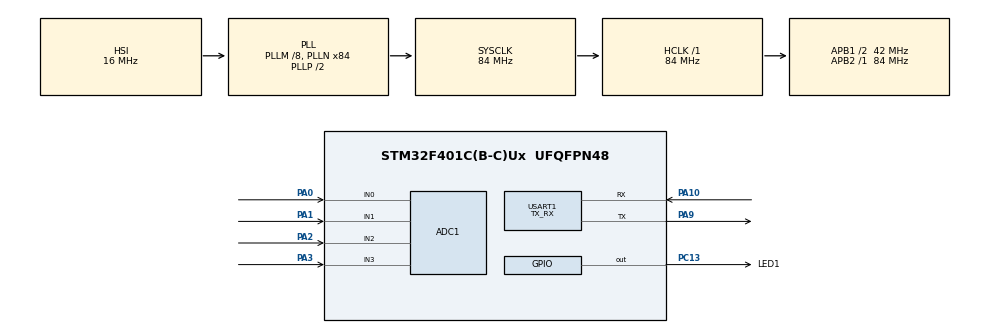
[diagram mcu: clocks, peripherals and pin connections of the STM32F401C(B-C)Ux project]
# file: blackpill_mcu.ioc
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ADC1.Channel-0\#ChannelRegularConversion=ADC_CHANNEL_0
ADC1.Channel-1\#ChannelRegularConversion=ADC_CHANNEL_1
ADC1.Channel-2\#ChannelRegularConversion=ADC_CHANNEL_2
ADC1.Channel-3\#ChannelRegularConversion=ADC_CHANNEL_3
ADC1.ContinuousConvMode=ENABLE
ADC1.NbrOfConversion=4
ADC1.NbrOfConversionFlag=1
ADC1.Rank-0\#ChannelRegularConversion=1
ADC1.Rank-1\#ChannelRegularConversion=2
ADC1.Rank-2\#ChannelRegularConversion=3
ADC1.Rank-3\#ChannelRegularConversion=4
ADC1.SamplingTime-0\#ChannelRegularConversion=ADC_SAMPLETIME_3CYCLES
ADC1.SamplingTime-1\#ChannelRegularConversion=ADC_SAMPLETIME_3CYCLES
ADC1.SamplingTime-2\#ChannelRegularConversion=ADC_SAMPLETIME_3CYCLES
ADC1.SamplingTime-3\#ChannelRegularConversion=ADC_SAMPLETIME_3CYCLES
ADC1.ScanConvMode=ENABLE
ADC1.master=1
Mcu.Family=STM32F4
Mcu.Name=STM32F401C(B-C)Ux
Mcu.Package=UFQFPN48
NVIC.PriorityGroup=NVIC_PRIORITYGROUP_4
PA0-WKUP.Signal=ADCx_IN0
PA1.Signal=ADCx_IN1
PA10.Mode=Asynchronous
PA10.Signal=USART1_RX
PA13.Mode=Trace_Asynchronous_SW
PA13.Signal=SYS_JTMS-SWDIO
PA14.Mode=Trace_Asynchronous_SW
PA14.Signal=SYS_JTCK-SWCLK
PA2.Signal=ADCx_IN2
PA3.Signal=ADCx_IN3
PA9.Mode=Asynchronous
PA9.Signal=USART1_TX
PB3.Mode=Trace_Asynchronous_SW
PB3.Signal=SYS_JTDO-SWO
PC13-ANTI_TAMP.GPIO_Label=LED1
PC13-ANTI_TAMP.Signal=GPIO_Output
ProjectManager.HeapSize=0x200
ProjectManager.StackSize=0x400
ProjectManager.TargetToolchain=STM32CubeIDE
RCC.48MHZClocksFreq_Value=42000000
RCC.AHBFreq_Value=84000000
RCC.APB1CLKDivider=RCC_HCLK_DIV2
RCC.APB1Freq_Value=42000000
RCC.APB1TimFreq_Value=84000000
RCC.APB2Freq_Value=84000000
RCC.APB2TimFreq_Value=84000000
RCC.CortexFreq_Value=84000000
RCC.HCLKFreq_Value=84000000
RCC.HSE_VALUE=25000000
RCC.HSI_VALUE=16000000
RCC.LSE_VALUE=32768
RCC.PLLM=8
RCC.PLLN=84
RCC.SYSCLKFreq_VALUE=84000000
RCC.SYSCLKSource=RCC_SYSCLKSOURCE_PLLCLK
RCC.VCOOutputFreq_Value=168000000
SH.ADCx_IN0.0=ADC1_IN0,IN0
SH.ADCx_IN1.0=ADC1_IN1,IN1
SH.ADCx_IN2.0=ADC1_IN2,IN2
SH.ADCx_IN3.0=ADC1_IN3,IN3
USART1.Mode=MODE_TX_RX
USART1.Parity=PARITY_NONE
USART1.VirtualMode=VM_ASYNC
USART1.WordLength=WORDLENGTH_8B
board=custom

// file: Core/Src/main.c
/* USER CODE BEGIN Header */
/**
  ******************************************************************************
  * @file           : main.c
  * @brief          : Main program body
  ******************************************************************************
  * @attention
  *
  * Copyright (c) 2022 STMicroelectronics.
  * All rights reserved.
  *
  * This software is licensed under terms that can be found in the LICENSE file
  * in the root directory of this software component.
  * If no LICENSE file comes with this software, it is provided AS-IS.
  *
  ******************************************************************************
  */
/* USER CODE END Header */
#include "main.h"

/* USER CODE BEGIN PD */
#define MESSAGE_LEN 1

/* USER CODE END PD */

ADC_HandleTypeDef hadc1;

UART_HandleTypeDef huart1;

/* USER CODE BEGIN PV */
uint8_t rx_buf[MESSAGE_LEN];
uint16_t ADC_VAL[5] = {0, 0, 0, 0, 0x7A7A};
ADC_ChannelConfTypeDef sConfig = {0};
uint32_t ch_list[4] = {ADC_CHANNEL_0, ADC_CHANNEL_1, ADC_CHANNEL_2, ADC_CHANNEL_3};

// set adc port to read
void SET_ADC_Port(uint32_t ch) {
  sConfig.Channel = ch;
  sConfig.Rank = 1;
  sConfig.SamplingTime = ADC_SAMPLETIME_56CYCLES;
  if (HAL_ADC_ConfigChannel(&hadc1, &sConfig) != HAL_OK)
  {
	Error_Handler();
  }
}

// read all adc ports
void READ_ADCS(void) {
	uint32_t temp;
	for(int i = 0; i<4; i++) {
		SET_ADC_Port(ch_list[i]);
		HAL_ADC_Start(&hadc1);
		HAL_ADC_PollForConversion(&hadc1, HAL_MAX_DELAY);
		temp = HAL_ADC_GetValue(&hadc1);
		HAL_ADC_Stop(&hadc1);
		__disable_irq();
		ADC_VAL[i] = 0xFFF&temp;
		__enable_irq();
	}

}

//void HAL_UART_RxCpltCallback(UART_HandleTypeDef *huart) {
//	HAL_UART_Transmit(&huart1, ADC_VAL, 8, HAL_MAX_DELAY);
//	HAL_GPIO_TogglePin(LED1_GPIO_Port, LED1_Pin);
//	HAL_UART_Receive_IT(&huart1, rx_buf, MESSAGE_LEN);
//}

/* USER CODE END PV */

void SystemClock_Config(void);
static void MX_GPIO_Init(void);
static void MX_ADC1_Init(void);
static void MX_USART1_UART_Init(void);

int main(void)
{

  /* MCU Configuration--------------------------------------------------------*/

  /* Reset of all peripherals, Initializes the Flash interface and the Systick. */
  HAL_Init();

  /* Configure the system clock */
  SystemClock_Config();

  /* Initialize all configured peripherals */
  MX_GPIO_Init();
  MX_ADC1_Init();
  MX_USART1_UART_Init();
  /* USER CODE BEGIN 2 */

  //HAL_UART_Receive_IT(&huart1, rx_buf, MESSAGE_LEN);
  //static unsigned short pin_state = 0;

  /* USER CODE END 2 */

  /* Infinite loop */
  while (1)
  {

    /* USER CODE BEGIN 3 */
	READ_ADCS();
	HAL_UART_Transmit(&huart1, ADC_VAL, 10, HAL_MAX_DELAY);
	HAL_GPIO_TogglePin(LED1_GPIO_Port, LED1_Pin);
  }
  /* USER CODE END 3 */
}

void SystemClock_Config(void)
{
  RCC_OscInitTypeDef RCC_OscInitStruct = {0};
  RCC_ClkInitTypeDef RCC_ClkInitStruct = {0};

  /** Configure the main internal regulator output voltage
  */
  __HAL_RCC_PWR_CLK_ENABLE();
  __HAL_PWR_VOLTAGESCALING_CONFIG(PWR_REGULATOR_VOLTAGE_SCALE2);
  /** Initializes the RCC Oscillators according to the specified parameters
  * in the RCC_OscInitTypeDef structure.
  */
  RCC_OscInitStruct.OscillatorType = RCC_OSCILLATORTYPE_HSI;
  RCC_OscInitStruct.HSIState = RCC_HSI_ON;
  RCC_OscInitStruct.HSICalibrationValue = RCC_HSICALIBRATION_DEFAULT;
  RCC_OscInitStruct.PLL.PLLState = RCC_PLL_ON;
  RCC_OscInitStruct.PLL.PLLSource = RCC_PLLSOURCE_HSI;
  RCC_OscInitStruct.PLL.PLLM = 8;
  RCC_OscInitStruct.PLL.PLLN = 84;
  RCC_OscInitStruct.PLL.PLLP = RCC_PLLP_DIV2;
  RCC_OscInitStruct.PLL.PLLQ = 4;
  if (HAL_RCC_OscConfig(&RCC_OscInitStruct) != HAL_OK)
  {
    Error_Handler();
  }
  /** Initializes the CPU, AHB and APB buses clocks
  */
  RCC_ClkInitStruct.ClockType = RCC_CLOCKTYPE_HCLK|RCC_CLOCKTYPE_SYSCLK
                              |RCC_CLOCKTYPE_PCLK1|RCC_CLOCKTYPE_PCLK2;
  RCC_ClkInitStruct.SYSCLKSource = RCC_SYSCLKSOURCE_PLLCLK;
  RCC_ClkInitStruct.AHBCLKDivider = RCC_SYSCLK_DIV1;
  RCC_ClkInitStruct.APB1CLKDivider = RCC_HCLK_DIV2;
  RCC_ClkInitStruct.APB2CLKDivider = RCC_HCLK_DIV1;

  if (HAL_RCC_ClockConfig(&RCC_ClkInitStruct, FLASH_LATENCY_2) != HAL_OK)
  {
    Error_Handler();
  }
}

static void MX_ADC1_Init(void)
{

  ADC_ChannelConfTypeDef sConfig = {0};

  /** Configure the global features of the ADC (Clock, Resolution, Data Alignment and number of conversion)
  */
  hadc1.Instance = ADC1;
  hadc1.Init.ClockPrescaler = ADC_CLOCK_SYNC_PCLK_DIV4;
  hadc1.Init.Resolution = ADC_RESOLUTION_12B;
  hadc1.Init.ScanConvMode = ENABLE;
  hadc1.Init.ContinuousConvMode = ENABLE;
  hadc1.Init.DiscontinuousConvMode = DISABLE;
  hadc1.Init.ExternalTrigConvEdge = ADC_EXTERNALTRIGCONVEDGE_NONE;
  hadc1.Init.ExternalTrigConv = ADC_SOFTWARE_START;
  hadc1.Init.DataAlign = ADC_DATAALIGN_RIGHT;
  hadc1.Init.NbrOfConversion = 4;
  hadc1.Init.DMAContinuousRequests = DISABLE;
  hadc1.Init.EOCSelection = ADC_EOC_SINGLE_CONV;
  if (HAL_ADC_Init(&hadc1) != HAL_OK)
  {
    Error_Handler();
  }
  /** Configure for the selected ADC regular channel its corresponding rank in the sequencer and its sample time.
  */
  sConfig.Channel = ADC_CHANNEL_0;
  sConfig.Rank = 1;
  sConfig.SamplingTime = ADC_SAMPLETIME_3CYCLES;
  if (HAL_ADC_ConfigChannel(&hadc1, &sConfig) != HAL_OK)
  {
    Error_Handler();
  }
  /** Configure for the selected ADC regular channel its corresponding rank in the sequencer and its sample time.
  */
  sConfig.Channel = ADC_CHANNEL_1;
  sConfig.Rank = 2;
  if (HAL_ADC_ConfigChannel(&hadc1, &sConfig) != HAL_OK)
  {
    Error_Handler();
  }
  /** Configure for the selected ADC regular channel its corresponding rank in the sequencer and its sample time.
  */
  sConfig.Channel = ADC_CHANNEL_2;
  sConfig.Rank = 3;
  if (HAL_ADC_ConfigChannel(&hadc1, &sConfig) != HAL_OK)
  {
    Error_Handler();
  }
  /** Configure for the selected ADC regular channel its corresponding rank in the sequencer and its sample time.
  */
  sConfig.Channel = ADC_CHANNEL_3;
  sConfig.Rank = 4;
  if (HAL_ADC_ConfigChannel(&hadc1, &sConfig) != HAL_OK)
  {
    Error_Handler();
  }

}

static void MX_USART1_UART_Init(void)
{

  huart1.Instance = USART1;
  huart1.Init.BaudRate = 115200;
  huart1.Init.WordLength = UART_WORDLENGTH_8B;
  huart1.Init.StopBits = UART_STOPBITS_1;
  huart1.Init.Parity = UART_PARITY_NONE;
  huart1.Init.Mode = UART_MODE_TX_RX;
  huart1.Init.HwFlowCtl = UART_HWCONTROL_NONE;
  huart1.Init.OverSampling = UART_OVERSAMPLING_16;
  if (HAL_UART_Init(&huart1) != HAL_OK)
  {
    Error_Handler();
  }

}

static void MX_GPIO_Init(void)
{
  GPIO_InitTypeDef GPIO_InitStruct = {0};

  /* GPIO Ports Clock Enable */
  __HAL_RCC_GPIOC_CLK_ENABLE();
  __HAL_RCC_GPIOA_CLK_ENABLE();
  __HAL_RCC_GPIOB_CLK_ENABLE();

  /*Configure GPIO pin Output Level */
  HAL_GPIO_WritePin(LED1_GPIO_Port, LED1_Pin, GPIO_PIN_RESET);

  /*Configure GPIO pin : LED1_Pin */
  GPIO_InitStruct.Pin = LED1_Pin;
  GPIO_InitStruct.Mode = GPIO_MODE_OUTPUT_PP;
  GPIO_InitStruct.Pull = GPIO_NOPULL;
  GPIO_InitStruct.Speed = GPIO_SPEED_FREQ_LOW;
  HAL_GPIO_Init(LED1_GPIO_Port, &GPIO_InitStruct);

}

void Error_Handler(void)
{
  __disable_irq();
  while (1)
  {
  }
}
